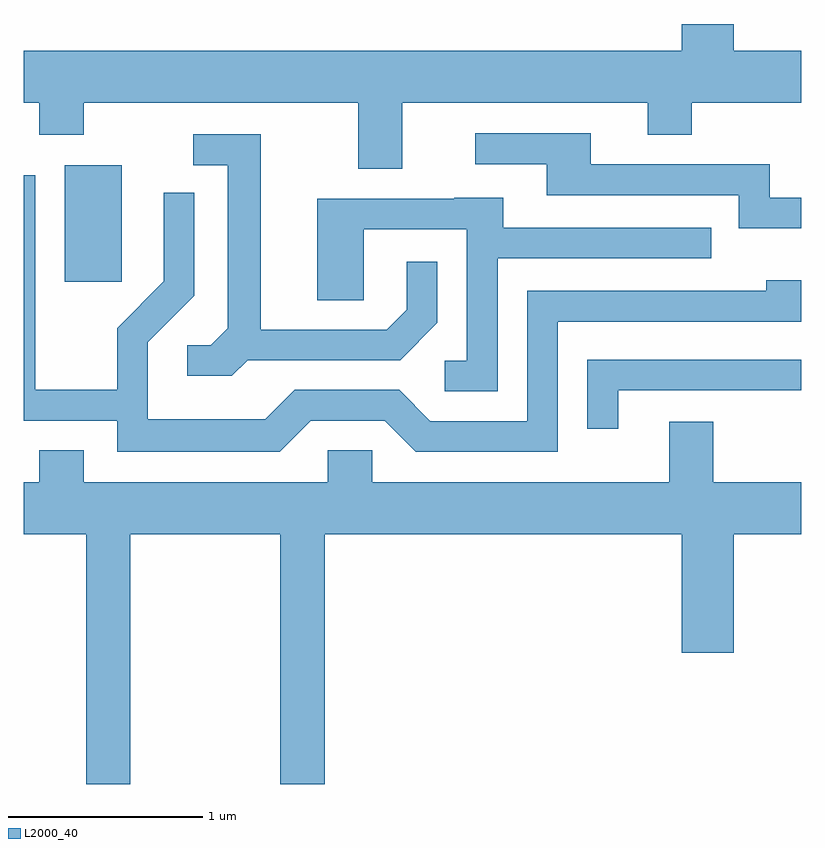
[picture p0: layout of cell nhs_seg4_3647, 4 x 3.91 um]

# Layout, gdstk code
import gdstk
lib = gdstk.Library(unit=1e-6, precision=1e-09)
def R(c, l, rs):  # rectangles x0, y0, x1, y1
    for r in rs: c.add(gdstk.rectangle(r[:2], r[2:], *l))
def P(c, l, *ps):  # polygons
    for p in ps: c.add(gdstk.Polygon(p, *l))
L2000_40 = (2000, 40)

nhs_seg4_3647 = lib.new_cell('nhs_seg4_3647')
R(nhs_seg4_3647, L2000_40, [(291.821,1342.656,292.114,1343.254)])
P(nhs_seg4_3647, L2000_40, [(293.559,1343.576),(294.821,1343.576),(294.821,1343.411),(295.049,1343.411),(295.049,1343.576),(295.611,1343.576),(295.611,1343.844),(295.264,1343.844),(295.264,1343.982),(294.996,1343.982),(294.996,1343.844),(291.611,1343.844),(291.611,1343.576),(291.691,1343.576),(291.691,1343.411),(291.919,1343.411),(291.919,1343.576),(293.331,1343.576),(293.331,1343.236),(293.559,1343.236)],
  [(295.611,1343.089),(295.449,1343.089),(295.449,1343.259),(294.529,1343.259),(294.529,1343.419),(293.933,1343.419),(293.933,1343.261),(294.301,1343.261),(294.301,1343.101),(295.291,1343.101),(295.291,1342.931),(295.611,1342.931)],
  [(292.762,1342.251),(293.547,1342.251),(293.739,1342.444),(293.739,1342.758),(293.581,1342.758),(293.581,1342.512),(293.479,1342.409),(292.829,1342.409),(292.829,1343.414),(292.483,1343.414),(292.483,1343.256),(292.661,1343.256),(292.661,1342.417),(292.574,1342.329),(292.453,1342.329),(292.453,1342.171),(292.682,1342.171)],
  [(293.087,1341.941),(293.469,1341.941),(293.629,1341.781),(294.359,1341.781),(294.359,1342.451),(295.611,1342.451),(295.611,1342.664),(295.431,1342.664),(295.431,1342.609),(294.201,1342.609),(294.201,1341.939),(293.702,1341.939),(293.542,1342.099),(293.004,1342.099),(292.854,1341.949),(292.249,1341.949),(292.249,1342.344),(292.489,1342.584),(292.489,1343.113),(292.331,1343.113),(292.331,1342.657),(292.091,1342.417),(292.091,1342.099),(291.669,1342.099),(291.669,1343.204),(291.611,1343.204),(291.611,1341.941),(292.091,1341.941),(292.091,1341.781),(292.927,1341.781)],
  [(294.049,1342.776),(295.148,1342.776),(295.148,1342.934),(294.079,1342.934),(294.079,1343.089),(293.825,1343.089),(293.825,1343.084),(293.121,1343.084),(293.121,1342.561),(293.359,1342.561),(293.359,1342.926),(293.891,1342.926),(293.891,1342.249),(293.778,1342.249),(293.778,1342.091),(294.049,1342.091)],
  [(294.669,1342.096),(295.611,1342.096),(295.611,1342.254),(294.511,1342.254),(294.511,1341.898),(294.669,1341.898)],
  [(294.931,1341.934),(294.931,1341.624),(293.404,1341.624),(293.404,1341.789),(293.176,1341.789),(293.176,1341.624),(291.919,1341.624),(291.919,1341.789),(291.691,1341.789),(291.691,1341.624),(291.611,1341.624),(291.611,1341.356),(291.931,1341.356),(291.931,1340.071),(292.159,1340.071),(292.159,1341.356),(292.931,1341.356),(292.931,1340.071),(293.159,1340.071),(293.159,1341.356),(294.996,1341.356),(294.996,1340.746),(295.264,1340.746),(295.264,1341.356),(295.611,1341.356),(295.611,1341.624),(295.159,1341.624),(295.159,1341.934)])

lib.write_gds('nhs_seg4_3647.gds')
